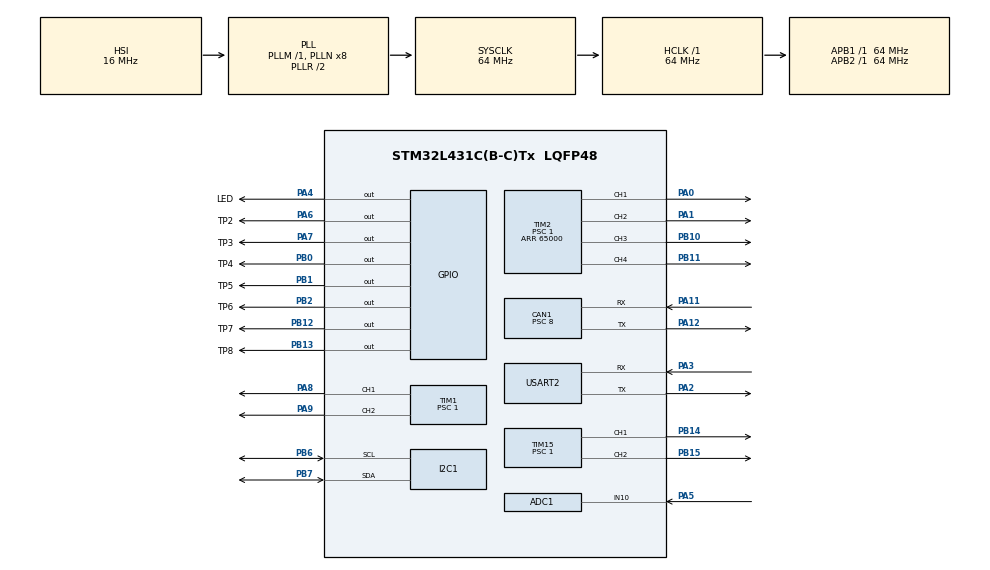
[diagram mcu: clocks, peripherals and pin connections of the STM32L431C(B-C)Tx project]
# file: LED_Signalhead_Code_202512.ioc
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ADC1.Channel-0\#ChannelRegularConversion=ADC_CHANNEL_10
ADC1.ClockPrescaler=ADC_CLOCK_ASYNC_DIV64
ADC1.ContinuousConvMode=ENABLE
ADC1.DMAContinuousRequests=ENABLE
ADC1.NbrOfConversionFlag=1
ADC1.OffsetNumber-0\#ChannelRegularConversion=ADC_OFFSET_NONE
ADC1.Rank-0\#ChannelRegularConversion=1
ADC1.SamplingTime-0\#ChannelRegularConversion=ADC_SAMPLETIME_640CYCLES_5
ADC1.master=1
CAN1.BS1=CAN_BS1_10TQ
CAN1.BS2=CAN_BS2_5TQ
CAN1.CalculateBaudRate=500000
CAN1.CalculateTimeBit=2000
CAN1.CalculateTimeQuantum=125.0
CAN1.Prescaler=8
Dma.ADC1.0.Direction=DMA_PERIPH_TO_MEMORY
Dma.ADC1.0.Instance=DMA1_Channel1
Dma.ADC1.0.MemDataAlignment=DMA_MDATAALIGN_HALFWORD
Dma.ADC1.0.MemInc=DMA_MINC_ENABLE
Dma.ADC1.0.Mode=DMA_CIRCULAR
Dma.ADC1.0.PeriphDataAlignment=DMA_PDATAALIGN_HALFWORD
Dma.ADC1.0.PeriphInc=DMA_PINC_DISABLE
Dma.ADC1.0.Priority=DMA_PRIORITY_LOW
Dma.Request0=ADC1
Dma.Request1=USART2_TX
Dma.Request2=USART2_RX
Dma.USART2_RX.2.Direction=DMA_PERIPH_TO_MEMORY
Dma.USART2_RX.2.Instance=DMA1_Channel6
Dma.USART2_RX.2.MemDataAlignment=DMA_MDATAALIGN_BYTE
Dma.USART2_RX.2.MemInc=DMA_MINC_ENABLE
Dma.USART2_RX.2.Mode=DMA_NORMAL
Dma.USART2_RX.2.PeriphDataAlignment=DMA_PDATAALIGN_BYTE
Dma.USART2_RX.2.PeriphInc=DMA_PINC_DISABLE
Dma.USART2_RX.2.Priority=DMA_PRIORITY_LOW
Dma.USART2_TX.1.Direction=DMA_MEMORY_TO_PERIPH
Dma.USART2_TX.1.Instance=DMA1_Channel7
Dma.USART2_TX.1.MemDataAlignment=DMA_MDATAALIGN_BYTE
Dma.USART2_TX.1.MemInc=DMA_MINC_ENABLE
Dma.USART2_TX.1.Mode=DMA_NORMAL
Dma.USART2_TX.1.PeriphDataAlignment=DMA_PDATAALIGN_BYTE
Dma.USART2_TX.1.PeriphInc=DMA_PINC_DISABLE
Dma.USART2_TX.1.Priority=DMA_PRIORITY_LOW
I2C1.Timing=0x10B17DB5
Mcu.Family=STM32L4
Mcu.Name=STM32L431C(B-C)Tx
Mcu.Package=LQFP48
NVIC.ADC1_IRQn=true\:0\:0\:false\:false\:true\:true\:true\:true
NVIC.DMA1_Channel1_IRQn=true\:0\:0\:false\:false\:true\:false\:true\:true
NVIC.DMA1_Channel6_IRQn=true\:0\:0\:false\:false\:true\:false\:true\:true
NVIC.DMA1_Channel7_IRQn=true\:0\:0\:false\:false\:true\:false\:true\:true
NVIC.PriorityGroup=NVIC_PRIORITYGROUP_4
NVIC.USART2_IRQn=true\:0\:0\:false\:false\:true\:true\:true\:true
PA0.Signal=S_TIM2_CH1
PA1.Signal=S_TIM2_CH2
PA11.Mode=CAN_Activate
PA11.Signal=CAN1_RX
PA12.Mode=CAN_Activate
PA12.Signal=CAN1_TX
PA13\ (JTMS-SWDIO).Mode=Serial_Wire
PA13\ (JTMS-SWDIO).Signal=SYS_JTMS-SWDIO
PA14\ (JTCK-SWCLK).Mode=Serial_Wire
PA14\ (JTCK-SWCLK).Signal=SYS_JTCK-SWCLK
PA2.Mode=Asynchronous
PA2.Signal=USART2_TX
PA3.Mode=Asynchronous
PA3.Signal=USART2_RX
PA4.GPIO_Label=LED
PA4.Signal=GPIO_Output
PA5.Signal=ADCx_IN10
PA6.GPIO_Label=TP2
PA6.Signal=GPIO_Output
PA7.GPIO_Label=TP3
PA7.Signal=GPIO_Output
PA8.Signal=S_TIM1_CH1
PA9.Signal=S_TIM1_CH2
PB0.GPIO_Label=TP4
PB0.Signal=GPIO_Output
PB1.GPIO_Label=TP5
PB1.Signal=GPIO_Output
PB10.Signal=S_TIM2_CH3
PB11.Signal=S_TIM2_CH4
PB12.GPIO_Label=TP7
PB12.Signal=GPIO_Output
PB13.GPIO_Label=TP8
PB13.Signal=GPIO_Output
PB14.Signal=S_TIM15_CH1
PB15.Signal=S_TIM15_CH2
PB2.GPIO_Label=TP6
PB2.Signal=GPIO_Output
PB6.Mode=I2C
PB6.Signal=I2C1_SCL
PB7.Mode=I2C
PB7.Signal=I2C1_SDA
ProjectManager.HeapSize=0x200
ProjectManager.StackSize=0x400
ProjectManager.TargetToolchain=STM32CubeIDE
RCC.ADCFreq_Value=64000000
RCC.AHBFreq_Value=64000000
RCC.APB1Freq_Value=64000000
RCC.APB1TimFreq_Value=64000000
RCC.APB2Freq_Value=64000000
RCC.APB2TimFreq_Value=64000000
RCC.CortexFreq_Value=64000000
RCC.HCLKFreq_Value=64000000
RCC.HSE_VALUE=8000000
RCC.HSI48_VALUE=48000000
RCC.HSI_VALUE=16000000
RCC.LSE_VALUE=32768
RCC.MSI_VALUE=4000000
RCC.PLLSourceVirtual=RCC_PLLSOURCE_HSI
RCC.SYSCLKFreq_VALUE=64000000
RCC.SYSCLKSource=RCC_SYSCLKSOURCE_PLLCLK
RCC.VCOOutputFreq_Value=128000000
SH.ADCx_IN10.0=ADC1_IN10,IN10-Single-Ended
SH.S_TIM15_CH1.0=TIM15_CH1,PWM Generation1 CH1
SH.S_TIM15_CH2.0=TIM15_CH2,PWM Generation2 CH2
SH.S_TIM1_CH1.0=TIM1_CH1,PWM Generation1 CH1
SH.S_TIM1_CH2.0=TIM1_CH2,PWM Generation2 CH2
SH.S_TIM2_CH1.0=TIM2_CH1,PWM Generation1 CH1
SH.S_TIM2_CH2.0=TIM2_CH2,PWM Generation2 CH2
SH.S_TIM2_CH3.0=TIM2_CH3,PWM Generation3 CH3
SH.S_TIM2_CH4.0=TIM2_CH4,PWM Generation4 CH4
TIM1.Channel-PWM\ Generation1\ CH1=TIM_CHANNEL_1
TIM1.Channel-PWM\ Generation2\ CH2=TIM_CHANNEL_2
TIM1.Period=65000
TIM1.Prescaler=1
TIM1.Pulse-PWM\ Generation1\ CH1=10
TIM1.Pulse-PWM\ Generation2\ CH2=20
TIM15.Channel-PWM\ Generation1\ CH1=TIM_CHANNEL_1
TIM15.Channel-PWM\ Generation2\ CH2=TIM_CHANNEL_2
TIM15.Period=65000
TIM15.Prescaler=1
TIM15.Pulse-PWM\ Generation1\ CH1=10
TIM15.Pulse-PWM\ Generation2\ CH2=20
TIM2.Channel-PWM\ Generation1\ CH1=TIM_CHANNEL_1
TIM2.Channel-PWM\ Generation2\ CH2=TIM_CHANNEL_2
TIM2.Channel-PWM\ Generation3\ CH3=TIM_CHANNEL_3
TIM2.Channel-PWM\ Generation4\ CH4=TIM_CHANNEL_4
TIM2.Period=65000
TIM2.Prescaler=1
TIM2.Pulse-PWM\ Generation2\ CH2=20
TIM2.Pulse-PWM\ Generation3\ CH3=30
TIM2.Pulse-PWM\ Generation4\ CH4=40
USART2.TxPinLevelInvertParam=ADVFEATURE_TXINV_DISABLE
USART2.VirtualMode-Asynchronous=VM_ASYNC
VP_TIM15_VS_ClockSourceINT.Mode=Internal
VP_TIM1_VS_ClockSourceINT.Mode=Internal
VP_TIM2_VS_ClockSourceINT.Mode=Internal
board=custom

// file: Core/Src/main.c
/* USER CODE BEGIN Header */
/**
 *
 * 15th April 2025	Jon Freeman
 *
 * This is THE West Buck Dual Lamp Signal Head Code.
 *
 * Use MSI 16MHz clock (1% accuracy) to provide internal 64MHz clocks
 *
  ******************************************************************************
  * @file           : main.c
  * @brief          : Main program body
  ******************************************************************************
  * @attention
  *
  * Copyright (c) 2025 STMicroelectronics.
  * All rights reserved.
  *
  * This software is licensed under terms that can be found in the LICENSE file
  * in the root directory of this software component.
  * If no LICENSE file comes with this software, it is provided AS-IS.
  *
  ******************************************************************************
  */
/* USER CODE END Header */
#include "main.h"

/* USER CODE BEGIN Includes */
#include	<stdbool.h>

/* USER CODE END Includes */

/* USER CODE BEGIN PD */
//#define	ADC_BUFFLEN		512
#define	ADC_BUFFLEN		64

/* USER CODE END PD */

ADC_HandleTypeDef hadc1;
DMA_HandleTypeDef hdma_adc1;

CAN_HandleTypeDef hcan1;

I2C_HandleTypeDef hi2c1;

TIM_HandleTypeDef htim1;
TIM_HandleTypeDef htim2;
TIM_HandleTypeDef htim15;

UART_HandleTypeDef huart2;
DMA_HandleTypeDef hdma_usart2_tx;
DMA_HandleTypeDef hdma_usart2_rx;

/* USER CODE BEGIN PV */
//uint32_t	millisecs = 0L;
//bool		millisecs_flag;
volatile	bool	jadc_half = false;
volatile	bool	jadc_full = false;
uint16_t	adc_buff[ADC_BUFFLEN];
/* USER CODE END PV */

void SystemClock_Config(void);
static void MX_GPIO_Init(void);
static void MX_DMA_Init(void);
static void MX_ADC1_Init(void);
static void MX_CAN1_Init(void);
static void MX_I2C1_Init(void);
static void MX_TIM1_Init(void);
static void MX_TIM2_Init(void);
static void MX_TIM15_Init(void);
static void MX_USART2_UART_Init(void);
/* USER CODE BEGIN PFP */
extern	void	ForeverLoop	()	;

/* USER CODE END PFP */

/* USER CODE BEGIN 0 */
#define	NUMOF_ADC_CHANS	1
//uint8_t		CANTxData[8];
//uint8_t		CANRxData[8];
//uint32_t	cancount = 0;
uint32_t	adc_new_results[NUMOF_ADC_CHANS + 1] = {0};
uint32_t	adc_prev_results[NUMOF_ADC_CHANS + 1] = {0};

void	adc_read_updater	(bool	full)	{	//	Called from Interrupt Handler in Interrupt Context
	uint16_t *	read_addr = adc_buff;
	if	(full)							//	Ping pong buffer is either half full or full
		read_addr += (ADC_BUFFLEN / 2);	//	if full then read from upper half as is now writing to lower half
	for	(int i = 0; i < NUMOF_ADC_CHANS; i++)	{
		adc_prev_results[i] = adc_new_results[i];
		adc_new_results[i] = 0;
	}
	for	(int i = 0; i < ((ADC_BUFFLEN / 2) / NUMOF_ADC_CHANS); i++)	{
		for	(int j = 0; j < NUMOF_ADC_CHANS; j++)	{
			adc_new_results[j] += *read_addr++;
		}
	}
}

uint32_t	get_adcval	(size_t	i)	{
	return	(adc_new_results[0]);
//	return	((uint32_t)adc_buff[13]);
}

/* USER CODE END 0 */

int main(void)
{

  /* MCU Configuration--------------------------------------------------------*/

  /* Reset of all peripherals, Initializes the Flash interface and the Systick. */
  HAL_Init();

  /* Configure the system clock */
  SystemClock_Config();

  /* Initialize all configured peripherals */
  MX_GPIO_Init();
  MX_DMA_Init();
  MX_ADC1_Init();
  MX_CAN1_Init();
  MX_I2C1_Init();
  MX_TIM1_Init();
  MX_TIM2_Init();
  MX_TIM15_Init();
  MX_USART2_UART_Init();
  /* USER CODE BEGIN 2 */
  HAL_ADC_Start_DMA	(&hadc1, (uint32_t*)adc_buff, ADC_BUFFLEN);

//  HAL_TIM_PWM_Start	(&htim3, TIM_CHANNEL_3);
//  HAL_TIM_PWM_Start	(&htim3, TIM_CHANNEL_4);
//  HAL_TIM_Base_Start_IT(&htim6);	//	Need this to start timer

//  HAL_TIM_PWM_Start	(&htim1, TIM_CHANNEL_1);
  HAL_TIM_PWM_Start	(&htim1, TIM_CHANNEL_2);
  HAL_TIM_PWM_Start	(&htim1, TIM_CHANNEL_3);

  HAL_TIM_PWM_Start	(&htim2, TIM_CHANNEL_1);
  HAL_TIM_PWM_Start	(&htim2, TIM_CHANNEL_2);
  HAL_TIM_PWM_Start	(&htim2, TIM_CHANNEL_3);
  HAL_TIM_PWM_Start	(&htim2, TIM_CHANNEL_4);

  HAL_TIM_PWM_Start	(&htim15, TIM_CHANNEL_1);
  HAL_TIM_PWM_Start	(&htim15, TIM_CHANNEL_2);

  //  HAL_TIM_PWM_Start	(&htim2, TIM_CHANNEL_4);
//    start_CAN_txrx	();	//	Now done as final step of init
//  HAL_CAN_Start(&hcan1);
/*
  if	(HAL_OK != HAL_CAN_ActivateNotification(&hcan1, CAN_IT_RX_FIFO0_MSG_PENDING))
	  cancount++;

  if	(HAL_OK != HAL_CAN_ActivateNotification(&hcan1, CAN_IT_RX_FIFO1_MSG_PENDING))
	  cancount++;

	LED_Lamp	Lamp2	((uint32_t&)(TIM2->CCR1)	//	Parameters are pointers to pwm timer registers
						,(uint32_t&)(TIM2->CCR2)
						,(uint32_t&)(TIM2->CCR3)
						,(uint32_t&)(TIM2->CCR4)
						);

	LED_Lamp	Lamp1	((uint32_t&)(TIM15->CCR1)	//	Parameters are pointers to pwm timer registers
						,(uint32_t&)(TIM15->CCR2)
						,(uint32_t&)(TIM1->CCR1)
						,(uint32_t&)(TIM1->CCR2)
						);

*/
  HAL_UART_Transmit(&huart2, (uint8_t*)"Let There Be LIGHT\r\n", 20, 10);
/*  HAL_Delay	(250);
volatile uint32_t*	ledtab	[8] = {&TIM2->CCR1
				,	&TIM2->CCR2
				,	&TIM2->CCR3
				,	&TIM2->CCR4
				,	&TIM15->CCR1
				,	&TIM15->CCR2
				,	&TIM1->CCR1
				,	&TIM1->CCR2
};
volatile	int	indie = 0;
	*ledtab[0] = 15000;
	*ledtab[1] = 15000;
	*ledtab[4] = 15000;
	*ledtab[5] = 15000;
	*ledtab[3] = 30000;
	*ledtab[7] = 30000;
*/
  /* USER CODE END 2 */

  /* Infinite loop */
  /* USER CODE BEGIN WHILE */
  ForeverLoop	()	;		//	Go here and never return
  while (1)
  {
    /* USER CODE END WHILE */

  }
}

void SystemClock_Config(void)
{
  RCC_OscInitTypeDef RCC_OscInitStruct = {0};
  RCC_ClkInitTypeDef RCC_ClkInitStruct = {0};

  /** Configure the main internal regulator output voltage
  */
  if (HAL_PWREx_ControlVoltageScaling(PWR_REGULATOR_VOLTAGE_SCALE1) != HAL_OK)
  {
    Error_Handler();
  }

  /** Initializes the RCC Oscillators according to the specified parameters
  * in the RCC_OscInitTypeDef structure.
  */
  RCC_OscInitStruct.OscillatorType = RCC_OSCILLATORTYPE_HSI;
  RCC_OscInitStruct.HSIState = RCC_HSI_ON;
  RCC_OscInitStruct.HSICalibrationValue = RCC_HSICALIBRATION_DEFAULT;
  RCC_OscInitStruct.PLL.PLLState = RCC_PLL_ON;
  RCC_OscInitStruct.PLL.PLLSource = RCC_PLLSOURCE_HSI;
  RCC_OscInitStruct.PLL.PLLM = 1;
  RCC_OscInitStruct.PLL.PLLN = 8;
  RCC_OscInitStruct.PLL.PLLP = RCC_PLLP_DIV7;
  RCC_OscInitStruct.PLL.PLLQ = RCC_PLLQ_DIV2;
  RCC_OscInitStruct.PLL.PLLR = RCC_PLLR_DIV2;
  if (HAL_RCC_OscConfig(&RCC_OscInitStruct) != HAL_OK)
  {
    Error_Handler();
  }

  /** Initializes the CPU, AHB and APB buses clocks
  */
  RCC_ClkInitStruct.ClockType = RCC_CLOCKTYPE_HCLK|RCC_CLOCKTYPE_SYSCLK
                              |RCC_CLOCKTYPE_PCLK1|RCC_CLOCKTYPE_PCLK2;
  RCC_ClkInitStruct.SYSCLKSource = RCC_SYSCLKSOURCE_PLLCLK;
  RCC_ClkInitStruct.AHBCLKDivider = RCC_SYSCLK_DIV1;
  RCC_ClkInitStruct.APB1CLKDivider = RCC_HCLK_DIV1;
  RCC_ClkInitStruct.APB2CLKDivider = RCC_HCLK_DIV1;

  if (HAL_RCC_ClockConfig(&RCC_ClkInitStruct, FLASH_LATENCY_3) != HAL_OK)
  {
    Error_Handler();
  }
}

static void MX_ADC1_Init(void)
{

  ADC_ChannelConfTypeDef sConfig = {0};

  /** Common config
  */
  hadc1.Instance = ADC1;
  hadc1.Init.ClockPrescaler = ADC_CLOCK_ASYNC_DIV64;
  hadc1.Init.Resolution = ADC_RESOLUTION_12B;
  hadc1.Init.DataAlign = ADC_DATAALIGN_RIGHT;
  hadc1.Init.ScanConvMode = ADC_SCAN_DISABLE;
  hadc1.Init.EOCSelection = ADC_EOC_SINGLE_CONV;
  hadc1.Init.LowPowerAutoWait = DISABLE;
  hadc1.Init.ContinuousConvMode = ENABLE;
  hadc1.Init.NbrOfConversion = 1;
  hadc1.Init.DiscontinuousConvMode = DISABLE;
  hadc1.Init.ExternalTrigConv = ADC_SOFTWARE_START;
  hadc1.Init.ExternalTrigConvEdge = ADC_EXTERNALTRIGCONVEDGE_NONE;
  hadc1.Init.DMAContinuousRequests = ENABLE;
  hadc1.Init.Overrun = ADC_OVR_DATA_PRESERVED;
  hadc1.Init.OversamplingMode = DISABLE;
  if (HAL_ADC_Init(&hadc1) != HAL_OK)
  {
    Error_Handler();
  }

  /** Configure Regular Channel
  */
  sConfig.Channel = ADC_CHANNEL_10;
  sConfig.Rank = ADC_REGULAR_RANK_1;
  sConfig.SamplingTime = ADC_SAMPLETIME_640CYCLES_5;
  sConfig.SingleDiff = ADC_SINGLE_ENDED;
  sConfig.OffsetNumber = ADC_OFFSET_NONE;
  sConfig.Offset = 0;
  if (HAL_ADC_ConfigChannel(&hadc1, &sConfig) != HAL_OK)
  {
    Error_Handler();
  }

}

static void MX_CAN1_Init(void)
{

  hcan1.Instance = CAN1;
  hcan1.Init.Prescaler = 8;
  hcan1.Init.Mode = CAN_MODE_NORMAL;
  hcan1.Init.SyncJumpWidth = CAN_SJW_1TQ;
  hcan1.Init.TimeSeg1 = CAN_BS1_10TQ;
  hcan1.Init.TimeSeg2 = CAN_BS2_5TQ;
  hcan1.Init.TimeTriggeredMode = DISABLE;
  hcan1.Init.AutoBusOff = DISABLE;
  hcan1.Init.AutoWakeUp = DISABLE;
  hcan1.Init.AutoRetransmission = DISABLE;
  hcan1.Init.ReceiveFifoLocked = DISABLE;
  hcan1.Init.TransmitFifoPriority = DISABLE;
  if (HAL_CAN_Init(&hcan1) != HAL_OK)
  {
    Error_Handler();
  }

}

static void MX_I2C1_Init(void)
{

  hi2c1.Instance = I2C1;
  hi2c1.Init.Timing = 0x10B17DB5;
  hi2c1.Init.OwnAddress1 = 0;
  hi2c1.Init.AddressingMode = I2C_ADDRESSINGMODE_7BIT;
  hi2c1.Init.DualAddressMode = I2C_DUALADDRESS_DISABLE;
  hi2c1.Init.OwnAddress2 = 0;
  hi2c1.Init.OwnAddress2Masks = I2C_OA2_NOMASK;
  hi2c1.Init.GeneralCallMode = I2C_GENERALCALL_DISABLE;
  hi2c1.Init.NoStretchMode = I2C_NOSTRETCH_DISABLE;
  if (HAL_I2C_Init(&hi2c1) != HAL_OK)
  {
    Error_Handler();
  }

  /** Configure Analogue filter
  */
  if (HAL_I2CEx_ConfigAnalogFilter(&hi2c1, I2C_ANALOGFILTER_ENABLE) != HAL_OK)
  {
    Error_Handler();
  }

  /** Configure Digital filter
  */
  if (HAL_I2CEx_ConfigDigitalFilter(&hi2c1, 0) != HAL_OK)
  {
    Error_Handler();
  }

}

static void MX_TIM1_Init(void)
{

  TIM_ClockConfigTypeDef sClockSourceConfig = {0};
  TIM_MasterConfigTypeDef sMasterConfig = {0};
  TIM_OC_InitTypeDef sConfigOC = {0};
  TIM_BreakDeadTimeConfigTypeDef sBreakDeadTimeConfig = {0};

  htim1.Instance = TIM1;
  htim1.Init.Prescaler = 1;
  htim1.Init.CounterMode = TIM_COUNTERMODE_UP;
  htim1.Init.Period = 65000;
  htim1.Init.ClockDivision = TIM_CLOCKDIVISION_DIV1;
  htim1.Init.RepetitionCounter = 0;
  htim1.Init.AutoReloadPreload = TIM_AUTORELOAD_PRELOAD_DISABLE;
  if (HAL_TIM_Base_Init(&htim1) != HAL_OK)
  {
    Error_Handler();
  }
  sClockSourceConfig.ClockSource = TIM_CLOCKSOURCE_INTERNAL;
  if (HAL_TIM_ConfigClockSource(&htim1, &sClockSourceConfig) != HAL_OK)
  {
    Error_Handler();
  }
  if (HAL_TIM_PWM_Init(&htim1) != HAL_OK)
  {
    Error_Handler();
  }
  sMasterConfig.MasterOutputTrigger = TIM_TRGO_RESET;
  sMasterConfig.MasterOutputTrigger2 = TIM_TRGO2_RESET;
  sMasterConfig.MasterSlaveMode = TIM_MASTERSLAVEMODE_DISABLE;
  if (HAL_TIMEx_MasterConfigSynchronization(&htim1, &sMasterConfig) != HAL_OK)
  {
    Error_Handler();
  }
  sConfigOC.OCMode = TIM_OCMODE_PWM1;
  sConfigOC.Pulse = 10;
  sConfigOC.OCPolarity = TIM_OCPOLARITY_HIGH;
  sConfigOC.OCNPolarity = TIM_OCNPOLARITY_HIGH;
  sConfigOC.OCFastMode = TIM_OCFAST_DISABLE;
  sConfigOC.OCIdleState = TIM_OCIDLESTATE_RESET;
  sConfigOC.OCNIdleState = TIM_OCNIDLESTATE_RESET;
  if (HAL_TIM_PWM_ConfigChannel(&htim1, &sConfigOC, TIM_CHANNEL_1) != HAL_OK)
  {
    Error_Handler();
  }
  sConfigOC.Pulse = 20;
  if (HAL_TIM_PWM_ConfigChannel(&htim1, &sConfigOC, TIM_CHANNEL_2) != HAL_OK)
  {
    Error_Handler();
  }
  sBreakDeadTimeConfig.OffStateRunMode = TIM_OSSR_DISABLE;
  sBreakDeadTimeConfig.OffStateIDLEMode = TIM_OSSI_DISABLE;
  sBreakDeadTimeConfig.LockLevel = TIM_LOCKLEVEL_OFF;
  sBreakDeadTimeConfig.DeadTime = 0;
  sBreakDeadTimeConfig.BreakState = TIM_BREAK_DISABLE;
  sBreakDeadTimeConfig.BreakPolarity = TIM_BREAKPOLARITY_HIGH;
  sBreakDeadTimeConfig.BreakFilter = 0;
  sBreakDeadTimeConfig.Break2State = TIM_BREAK2_DISABLE;
  sBreakDeadTimeConfig.Break2Polarity = TIM_BREAK2POLARITY_HIGH;
  sBreakDeadTimeConfig.Break2Filter = 0;
  sBreakDeadTimeConfig.AutomaticOutput = TIM_AUTOMATICOUTPUT_DISABLE;
  if (HAL_TIMEx_ConfigBreakDeadTime(&htim1, &sBreakDeadTimeConfig) != HAL_OK)
  {
    Error_Handler();
  }
  HAL_TIM_MspPostInit(&htim1);

}

static void MX_TIM2_Init(void)
{

  TIM_ClockConfigTypeDef sClockSourceConfig = {0};
  TIM_MasterConfigTypeDef sMasterConfig = {0};
  TIM_OC_InitTypeDef sConfigOC = {0};

  htim2.Instance = TIM2;
  htim2.Init.Prescaler = 1;
  htim2.Init.CounterMode = TIM_COUNTERMODE_UP;
  htim2.Init.Period = 65000;
  htim2.Init.ClockDivision = TIM_CLOCKDIVISION_DIV1;
  htim2.Init.AutoReloadPreload = TIM_AUTORELOAD_PRELOAD_DISABLE;
  if (HAL_TIM_Base_Init(&htim2) != HAL_OK)
  {
    Error_Handler();
  }
  sClockSourceConfig.ClockSource = TIM_CLOCKSOURCE_INTERNAL;
  if (HAL_TIM_ConfigClockSource(&htim2, &sClockSourceConfig) != HAL_OK)
  {
    Error_Handler();
  }
  if (HAL_TIM_PWM_Init(&htim2) != HAL_OK)
  {
    Error_Handler();
  }
  sMasterConfig.MasterOutputTrigger = TIM_TRGO_RESET;
  sMasterConfig.MasterSlaveMode = TIM_MASTERSLAVEMODE_DISABLE;
  if (HAL_TIMEx_MasterConfigSynchronization(&htim2, &sMasterConfig) != HAL_OK)
  {
    Error_Handler();
  }
  sConfigOC.OCMode = TIM_OCMODE_PWM1;
  sConfigOC.Pulse = 0;
  sConfigOC.OCPolarity = TIM_OCPOLARITY_HIGH;
  sConfigOC.OCFastMode = TIM_OCFAST_DISABLE;
  if (HAL_TIM_PWM_ConfigChannel(&htim2, &sConfigOC, TIM_CHANNEL_1) != HAL_OK)
  {
    Error_Handler();
  }
  sConfigOC.Pulse = 20;
  if (HAL_TIM_PWM_ConfigChannel(&htim2, &sConfigOC, TIM_CHANNEL_2) != HAL_OK)
  {
    Error_Handler();
  }
  sConfigOC.Pulse = 30;
  if (HAL_TIM_PWM_ConfigChannel(&htim2, &sConfigOC, TIM_CHANNEL_3) != HAL_OK)
  {
    Error_Handler();
  }
  sConfigOC.Pulse = 40;
  if (HAL_TIM_PWM_ConfigChannel(&htim2, &sConfigOC, TIM_CHANNEL_4) != HAL_OK)
  {
    Error_Handler();
  }
  HAL_TIM_MspPostInit(&htim2);

}

static void MX_TIM15_Init(void)
{

  TIM_ClockConfigTypeDef sClockSourceConfig = {0};
  TIM_MasterConfigTypeDef sMasterConfig = {0};
  TIM_OC_InitTypeDef sConfigOC = {0};
  TIM_BreakDeadTimeConfigTypeDef sBreakDeadTimeConfig = {0};

  htim15.Instance = TIM15;
  htim15.Init.Prescaler = 1;
  htim15.Init.CounterMode = TIM_COUNTERMODE_UP;
  htim15.Init.Period = 65000;
  htim15.Init.ClockDivision = TIM_CLOCKDIVISION_DIV1;
  htim15.Init.RepetitionCounter = 0;
  htim15.Init.AutoReloadPreload = TIM_AUTORELOAD_PRELOAD_DISABLE;
  if (HAL_TIM_Base_Init(&htim15) != HAL_OK)
  {
    Error_Handler();
  }
  sClockSourceConfig.ClockSource = TIM_CLOCKSOURCE_INTERNAL;
  if (HAL_TIM_ConfigClockSource(&htim15, &sClockSourceConfig) != HAL_OK)
  {
    Error_Handler();
  }
  if (HAL_TIM_PWM_Init(&htim15) != HAL_OK)
  {
    Error_Handler();
  }
  sMasterConfig.MasterOutputTrigger = TIM_TRGO_RESET;
  sMasterConfig.MasterSlaveMode = TIM_MASTERSLAVEMODE_DISABLE;
  if (HAL_TIMEx_MasterConfigSynchronization(&htim15, &sMasterConfig) != HAL_OK)
  {
    Error_Handler();
  }
  sConfigOC.OCMode = TIM_OCMODE_PWM1;
  sConfigOC.Pulse = 10;
  sConfigOC.OCPolarity = TIM_OCPOLARITY_HIGH;
  sConfigOC.OCNPolarity = TIM_OCNPOLARITY_HIGH;
  sConfigOC.OCFastMode = TIM_OCFAST_DISABLE;
  sConfigOC.OCIdleState = TIM_OCIDLESTATE_RESET;
  sConfigOC.OCNIdleState = TIM_OCNIDLESTATE_RESET;
  if (HAL_TIM_PWM_ConfigChannel(&htim15, &sConfigOC, TIM_CHANNEL_1) != HAL_OK)
  {
    Error_Handler();
  }
  sConfigOC.Pulse = 20;
  if (HAL_TIM_PWM_ConfigChannel(&htim15, &sConfigOC, TIM_CHANNEL_2) != HAL_OK)
  {
    Error_Handler();
  }
  sBreakDeadTimeConfig.OffStateRunMode = TIM_OSSR_DISABLE;
  sBreakDeadTimeConfig.OffStateIDLEMode = TIM_OSSI_DISABLE;
  sBreakDeadTimeConfig.LockLevel = TIM_LOCKLEVEL_OFF;
  sBreakDeadTimeConfig.DeadTime = 0;
  sBreakDeadTimeConfig.BreakState = TIM_BREAK_DISABLE;
  sBreakDeadTimeConfig.BreakPolarity = TIM_BREAKPOLARITY_HIGH;
  sBreakDeadTimeConfig.AutomaticOutput = TIM_AUTOMATICOUTPUT_DISABLE;
  if (HAL_TIMEx_ConfigBreakDeadTime(&htim15, &sBreakDeadTimeConfig) != HAL_OK)
  {
    Error_Handler();
  }
  HAL_TIM_MspPostInit(&htim15);

}

static void MX_USART2_UART_Init(void)
{

  huart2.Instance = USART2;
  huart2.Init.BaudRate = 115200;
  huart2.Init.WordLength = UART_WORDLENGTH_8B;
  huart2.Init.StopBits = UART_STOPBITS_1;
  huart2.Init.Parity = UART_PARITY_NONE;
  huart2.Init.Mode = UART_MODE_TX_RX;
  huart2.Init.HwFlowCtl = UART_HWCONTROL_NONE;
  huart2.Init.OverSampling = UART_OVERSAMPLING_16;
  huart2.Init.OneBitSampling = UART_ONE_BIT_SAMPLE_DISABLE;
  huart2.AdvancedInit.AdvFeatureInit = UART_ADVFEATURE_NO_INIT;
  if (HAL_UART_Init(&huart2) != HAL_OK)
  {
    Error_Handler();
  }

}

static void MX_DMA_Init(void)
{

  /* DMA controller clock enable */
  __HAL_RCC_DMA1_CLK_ENABLE();

  /* DMA interrupt init */
  /* DMA1_Channel1_IRQn interrupt configuration */
  HAL_NVIC_SetPriority(DMA1_Channel1_IRQn, 0, 0);
  HAL_NVIC_EnableIRQ(DMA1_Channel1_IRQn);
  /* DMA1_Channel6_IRQn interrupt configuration */
  HAL_NVIC_SetPriority(DMA1_Channel6_IRQn, 0, 0);
  HAL_NVIC_EnableIRQ(DMA1_Channel6_IRQn);
  /* DMA1_Channel7_IRQn interrupt configuration */
  HAL_NVIC_SetPriority(DMA1_Channel7_IRQn, 0, 0);
  HAL_NVIC_EnableIRQ(DMA1_Channel7_IRQn);

}

static void MX_GPIO_Init(void)
{
  GPIO_InitTypeDef GPIO_InitStruct = {0};

  /* GPIO Ports Clock Enable */
  __HAL_RCC_GPIOA_CLK_ENABLE();
  __HAL_RCC_GPIOB_CLK_ENABLE();

  /*Configure GPIO pin Output Level */
  HAL_GPIO_WritePin(GPIOA, LED_Pin|TP2_Pin|TP3_Pin, GPIO_PIN_RESET);

  /*Configure GPIO pin Output Level */
  HAL_GPIO_WritePin(GPIOB, TP4_Pin|TP5_Pin|TP6_Pin|TP7_Pin
                          |TP8_Pin, GPIO_PIN_RESET);

  /*Configure GPIO pins : LED_Pin TP2_Pin TP3_Pin */
  GPIO_InitStruct.Pin = LED_Pin|TP2_Pin|TP3_Pin;
  GPIO_InitStruct.Mode = GPIO_MODE_OUTPUT_PP;
  GPIO_InitStruct.Pull = GPIO_NOPULL;
  GPIO_InitStruct.Speed = GPIO_SPEED_FREQ_LOW;
  HAL_GPIO_Init(GPIOA, &GPIO_InitStruct);

  /*Configure GPIO pins : TP4_Pin TP5_Pin TP6_Pin TP7_Pin
                           TP8_Pin */
  GPIO_InitStruct.Pin = TP4_Pin|TP5_Pin|TP6_Pin|TP7_Pin
                          |TP8_Pin;
  GPIO_InitStruct.Mode = GPIO_MODE_OUTPUT_PP;
  GPIO_InitStruct.Pull = GPIO_NOPULL;
  GPIO_InitStruct.Speed = GPIO_SPEED_FREQ_LOW;
  HAL_GPIO_Init(GPIOB, &GPIO_InitStruct);

}

/* USER CODE BEGIN 4 */
void	HAL_ADC_ConvHalfCpltCallback	(ADC_HandleTypeDef* hadc)	{
	  HAL_GPIO_WritePin(TP7_GPIO_Port, TP7_Pin, GPIO_PIN_SET);
	jadc_half = true;
	adc_read_updater	(false);
}

void	HAL_ADC_ConvCpltCallback	(ADC_HandleTypeDef* hadc)	{
	  HAL_GPIO_WritePin(TP7_GPIO_Port, TP7_Pin, GPIO_PIN_RESET);
	jadc_full = true;
	adc_read_updater	(true);
}

/* USER CODE END 4 */

void Error_Handler(void)
{
  __disable_irq();
  while (1)
  {
  }
}
